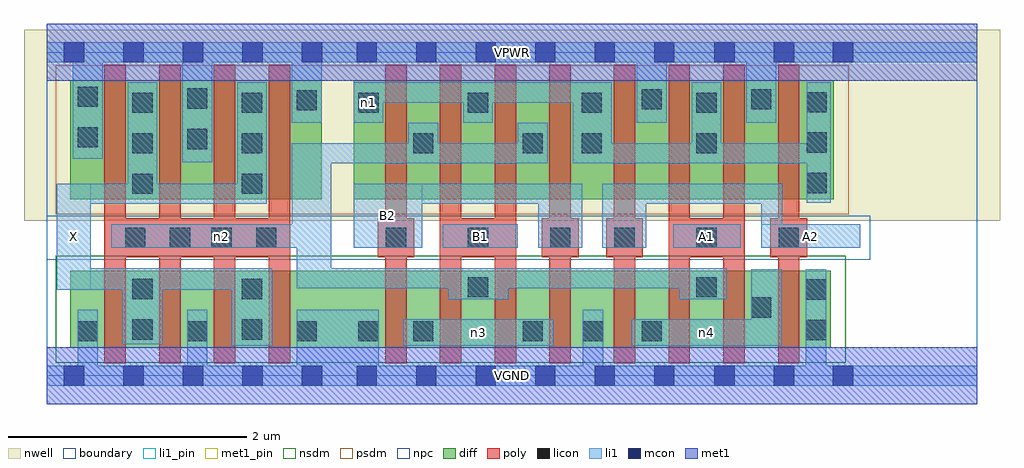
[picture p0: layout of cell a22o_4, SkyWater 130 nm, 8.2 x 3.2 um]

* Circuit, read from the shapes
.subckt a22o_4 A1 A2 B1 B2 VGND VPWR X n1 n2 n3 n4
XM1 X n2 VGND VSUBS sky130_fd_pr__nfet_01v8 w=0.65 l=0.18 m=4
XM2 n3 B2 VGND VSUBS sky130_fd_pr__nfet_01v8 w=0.65 l=0.18 m=2
XM3 n2 B1 n3 VSUBS sky130_fd_pr__nfet_01v8 w=0.65 l=0.18 m=2
XM4 n4 A2 VGND VSUBS sky130_fd_pr__nfet_01v8 w=0.65 l=0.18 m=2
XM5 n2 A1 n4 VSUBS sky130_fd_pr__nfet_01v8 w=0.65 l=0.18 m=2
XM6 X n2 VPWR n5 sky130_fd_pr__pfet_01v8 w=1 l=0.18 m=4
XM7 n2 B2 n1 n5 sky130_fd_pr__pfet_01v8 w=1 l=0.18 m=2
XM8 n1 B1 n2 n5 sky130_fd_pr__pfet_01v8 w=1 l=0.18 m=2
XM9 VPWR A2 n1 n5 sky130_fd_pr__pfet_01v8 w=1 l=0.18 m=2
XM10 n1 A1 VPWR n5 sky130_fd_pr__pfet_01v8 w=1 l=0.18 m=2
.ends

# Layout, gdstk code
import gdstk
lib = gdstk.Library(unit=1e-6, precision=1e-09)
def R(c, l, rs):  # rectangles x0, y0, x1, y1
    for r in rs: c.add(gdstk.rectangle(r[:2], r[2:], *l))
def A(c, l, x, y, w, h, nx, ny, dx, dy):  # array of equal rectangles
    R(c, l, [(x+i*dx, y+j*dy, x+i*dx+w, y+j*dy+h) for i in range(nx) for j in range(ny)])
nwell = (64, 20)
diff = (65, 20)
poly = (66, 20)
licon = (66, 44)
li1_pin = (67, 16)
li1 = (67, 20)
mcon = (67, 44)
met1_pin = (68, 16)
met1 = (68, 20)
nsdm = (93, 44)
psdm = (94, 20)
npc = (95, 20)
boundary = (235, 4)

a22o_4 = lib.new_cell('a22o_4')
R(a22o_4, nwell, [(-0.19,1.305,8.01,2.91), (0,1.305,7.82,2.91)])
R(a22o_4, diff, [(0.2,0.235,6.59,0.885), (0.2,1.485,2.31,2.485), (2.58,1.485,6.615,2.485)])
A(a22o_4, poly, 0.485, 0.105, 0.18, 2.51, 4, 1, 0.46, 0)
A(a22o_4, poly, 2.845, 0.105, 0.18, 2.51, 4, 1, 0.46, 0)
A(a22o_4, poly, 4.765, 0.105, 0.18, 2.51, 4, 1, 0.46, 0)
R(a22o_4, poly, [(0.485,0.995,2.045,1.325), (2.78,0.995,3.09,1.325), (3.305,0.995,3.945,1.325), (4.16,0.995,4.47,1.325), (4.7,0.995,5.01,1.325), (5.225,0.995,5.865,1.325), (6.08,0.995,6.39,1.325)])
A(a22o_4, licon, 0.26, 0.29, 0.17, 0.17, 3, 1, 0.92, 0)
A(a22o_4, licon, 2.85, 1.075, 0.17, 0.17, 3, 1, 0.69, 0)
A(a22o_4, licon, 4.77, 1.075, 0.17, 0.17, 3, 1, 0.69, 0)
A(a22o_4, licon, 0.72, 1.53, 0.17, 0.17, 1, 3, 0, 0.34)
A(a22o_4, licon, 1.64, 1.53, 0.17, 0.17, 1, 3, 0, 0.34)
A(a22o_4, licon, 6.385, 1.535, 0.17, 0.17, 1, 3, 0, 0.34)
R(a22o_4, licon, [(2.62,0.29,2.79,0.46), (3.08,0.29,3.25,0.46), (4,0.29,4.17,0.46), (4.505,0.29,4.675,0.46), (5,0.29,5.17,0.46), (6.38,0.3,6.55,0.47), (0.72,0.305,0.89,0.475), (1.64,0.305,1.81,0.475), (5.92,0.49,6.09,0.66), (6.38,0.64,6.55,0.81), (0.72,0.645,0.89,0.815), (1.64,0.645,1.81,0.815), (3.54,0.66,3.71,0.83), (5.46,0.66,5.63,0.83), (0.66,1.075,0.83,1.245), (1.035,1.075,1.205,1.245), (1.385,1.075,1.555,1.245), (1.76,1.075,1.93,1.245), (3.08,1.87,3.25,2.04), (4,1.87,4.17,2.04), (4.495,1.87,4.665,2.04), (5.46,1.87,5.63,2.04), (1.18,1.905,1.35,2.075), (0.26,1.92,0.43,2.09), (2.62,2.21,2.79,2.38), (3.54,2.21,3.71,2.38), (4.495,2.21,4.665,2.38), (5.46,2.21,5.63,2.38), (2.1,2.23,2.27,2.4), (5,2.24,5.17,2.41), (5.92,2.24,6.09,2.41), (1.18,2.245,1.35,2.415), (0.26,2.26,0.43,2.43)])
R(a22o_4, li1_pin, [(0.085,0.725,0.37,1.615), (2.58,1.075,3.155,1.615), (3.33,1.075,3.96,1.275), (5.265,1.075,5.83,1.275), (6.005,1.075,6.835,1.275)])
R(a22o_4, li1, [(0,-0.085,7.82,0.085), (0.26,-0.085,0.43,0.555), (1.18,-0.085,1.35,0.555), (2.1,-0.085,2.79,0.555), (4.505,-0.085,4.675,0.555), (6.38,-0.085,6.55,0.895), (1.555,0.255,1.895,0.905), (2.995,0.255,4.255,0.475), (4.915,0.255,6.175,0.475), (5.92,0.255,6.175,0.895), (0.635,0.265,0.975,0.905), (3.375,0.645,3.88,0.905), (5.315,0.645,5.715,0.905), (0.085,0.725,1.895,0.905), (0.085,0.725,0.37,1.615), (2.1,0.735,5.715,0.905), (2.1,0.735,2.39,1.955), (0.545,1.075,2.39,1.275), (2.06,1.075,2.39,1.955), (2.58,1.075,3.155,1.615), (3.33,1.075,3.96,1.275), (4.13,1.075,4.5,1.615), (4.67,1.075,5.04,1.615), (5.265,1.075,5.83,1.275), (6.005,1.075,6.835,1.275), (6.005,1.075,6.18,1.615), (0.085,1.445,1.85,1.615), (0.68,1.445,0.93,2.465), (1.6,1.445,1.85,2.465), (2.58,1.445,4.5,1.615), (4.67,1.445,6.18,1.615), (6.385,1.455,6.59,2.465), (2.06,1.785,4.21,1.955), (3.04,1.785,3.29,2.125), (3.96,1.785,4.21,2.125), (4.42,1.785,6.59,1.955), (4.42,1.785,4.75,2.465), (5.42,1.785,5.67,2.465), (1.14,1.795,1.39,2.805), (0.22,1.825,0.47,2.805), (2.06,2.125,2.31,2.805), (2.58,2.125,2.83,2.465), (3.5,2.125,3.75,2.465), (4.96,2.125,5.21,2.805), (5.88,2.125,6.13,2.805), (2.58,2.295,4.75,2.465), (0,2.635,7.82,2.805)])
A(a22o_4, mcon, 0.145, -0.085, 0.17, 0.17, 5, 2, 0.5, 2.72)
A(a22o_4, mcon, 2.605, -0.085, 0.17, 0.17, 6, 2, 0.5, 2.72)
R(a22o_4, mcon, [(5.61,-0.085,5.78,0.085), (6.11,-0.085,6.28,0.085), (6.605,-0.085,6.775,0.085), (5.61,2.635,5.78,2.805), (6.11,2.635,6.28,2.805), (6.605,2.635,6.775,2.805)])
R(a22o_4, met1_pin, [(0,-0.24,7.82,0.24), (0,2.48,7.82,2.96)])
R(a22o_4, met1, [(0,-0.24,7.82,0.24), (0,2.48,7.82,2.96)])
R(a22o_4, nsdm, [(0.075,0.11,6.715,1.01)])
R(a22o_4, psdm, [(0.075,1.36,6.74,2.61)])
R(a22o_4, npc, [(0,0.975,6.92,1.345)])
R(a22o_4, boundary, [(0,0,7.82,2.72)])
a22o_4.add(gdstk.Label('A1', (5.547,1.175), layer=67, texttype=5))
a22o_4.add(gdstk.Label('A2', (6.42,1.175), layer=67, texttype=5))
a22o_4.add(gdstk.Label('B1', (3.645,1.175), layer=67, texttype=5))
a22o_4.add(gdstk.Label('B2', (2.867,1.345), layer=67, texttype=5))
a22o_4.add(gdstk.Label('X', (0.227,1.17), layer=67, texttype=5))
a22o_4.add(gdstk.Label('n3', (3.625,0.365), layer=67, texttype=5))
a22o_4.add(gdstk.Label('n4', (5.545,0.365), layer=67, texttype=5))
a22o_4.add(gdstk.Label('n2', (1.467,1.175), layer=67, texttype=5))
a22o_4.add(gdstk.Label('n1', (2.705,2.295), layer=67, texttype=5))
a22o_4.add(gdstk.Label('VPWR', (3.91,2.72), layer=68, texttype=5))
a22o_4.add(gdstk.Label('VGND', (3.91,0), layer=68, texttype=5))
a22o_4.add(gdstk.Label('A1', (5.547,1.175), layer=67, texttype=16))
a22o_4.add(gdstk.Label('A2', (6.42,1.175), layer=67, texttype=16))
a22o_4.add(gdstk.Label('B1', (3.645,1.175), layer=67, texttype=16))
a22o_4.add(gdstk.Label('B2', (2.867,1.345), layer=67, texttype=16))
a22o_4.add(gdstk.Label('X', (0.227,1.17), layer=67, texttype=16))
a22o_4.add(gdstk.Label('VPWR', (3.91,2.72), layer=68, texttype=16))
a22o_4.add(gdstk.Label('VGND', (3.91,0), layer=68, texttype=16))

lib.write_gds('a22o_4.gds')
